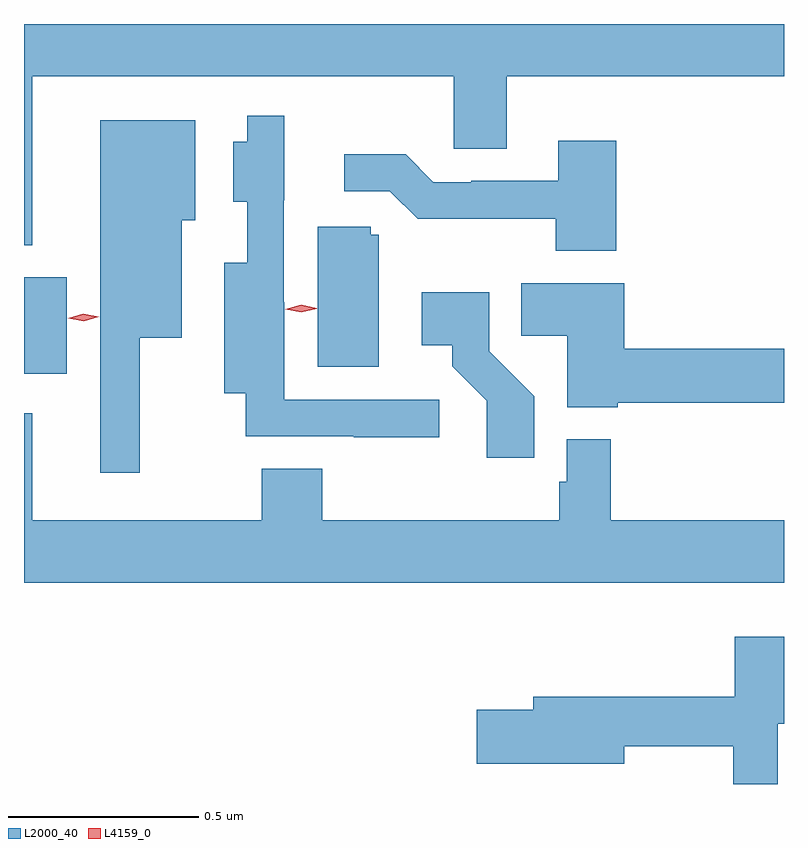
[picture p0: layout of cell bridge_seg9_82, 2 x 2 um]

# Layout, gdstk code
import gdstk
lib = gdstk.Library(unit=1e-6, precision=1e-09)
def R(c, l, rs):  # rectangles x0, y0, x1, y1
    for r in rs: c.add(gdstk.rectangle(r[:2], r[2:], *l))
def P(c, l, *ps):  # polygons
    for p in ps: c.add(gdstk.Polygon(p, *l))
L2000_40 = (2000, 40)
L4159_0 = (4159, 0)

bridge_seg9_82 = lib.new_cell('bridge_seg9_82')
R(bridge_seg9_82, L2000_40, [(884.979,1246.253,885.091,1246.507)])
P(bridge_seg9_82, L2000_40, [(885.001,1247.036),(886.11,1247.036),(886.11,1246.846),(886.249,1246.846),(886.249,1247.036),(886.979,1247.036),(886.979,1247.174),(884.979,1247.174),(884.979,1246.592),(885.001,1246.592)],
  [(886.072,1246.185),(885.664,1246.185),(885.664,1246.442),(885.663,1246.442),(885.663,1246.71),(885.664,1246.71),(885.664,1246.933),(885.566,1246.933),(885.566,1246.864),(885.53,1246.864),(885.53,1246.706),(885.566,1246.706),(885.566,1246.546),(885.506,1246.546),(885.506,1246.202),(885.562,1246.202),(885.562,1246.089),(885.847,1246.089),(885.847,1246.087),(886.072,1246.087)],
  [(885.283,1246.349),(885.394,1246.349),(885.394,1246.658),(885.43,1246.658),(885.43,1246.921),(885.179,1246.921),(885.179,1245.993),(885.283,1245.993)],
  [(886.538,1246.867),(886.385,1246.867),(886.385,1246.761),(886.156,1246.761),(886.156,1246.758),(886.056,1246.758),(885.983,1246.831),(885.822,1246.831),(885.822,1246.734),(885.942,1246.734),(886.015,1246.661),(886.114,1246.661),(886.114,1246.662),(886.378,1246.662),(886.378,1246.577),(886.538,1246.577)],
  [(885.913,1246.62),(885.891,1246.62),(885.891,1246.641),(885.752,1246.641),(885.752,1246.272),(885.913,1246.272)],
  [(886.542,1246.177),(886.979,1246.177),(886.979,1246.319),(886.559,1246.319),(886.559,1246.492),(886.288,1246.492),(886.288,1246.354),(886.409,1246.354),(886.409,1246.166),(886.542,1246.166)],
  [(886.322,1246.194),(886.203,1246.313),(886.203,1246.468),(886.026,1246.468),(886.026,1246.328),(886.106,1246.328),(886.106,1246.273),(886.197,1246.183),(886.197,1246.032),(886.322,1246.032)],
  [(886.979,1245.868),(886.523,1245.868),(886.523,1246.081),(886.407,1246.081),(886.407,1245.969),(886.387,1245.969),(886.387,1245.868),(885.764,1245.868),(885.764,1246.004),(885.604,1246.004),(885.604,1245.868),(885.001,1245.868),(885.001,1246.15),(884.979,1246.15),(884.979,1245.704),(886.979,1245.704)],
  [(886.963,1245.333),(886.979,1245.333),(886.979,1245.562),(886.85,1245.562),(886.85,1245.403),(886.319,1245.403),(886.319,1245.369),(886.17,1245.369),(886.17,1245.227),(886.558,1245.227),(886.558,1245.274),(886.845,1245.274),(886.845,1245.174),(886.963,1245.174)])
P(bridge_seg9_82, L4159_0, [(885.708,1246.415),(885.667,1246.424),(885.667,1246.424),(885.667,1246.424),(885.708,1246.435),(885.749,1246.426),(885.749,1246.426),(885.749,1246.425)],
  [(885.136,1246.392),(885.096,1246.4),(885.096,1246.4),(885.096,1246.4),(885.135,1246.412),(885.176,1246.404),(885.176,1246.404),(885.176,1246.404)])

lib.write_gds('bridge_seg9_82.gds')
